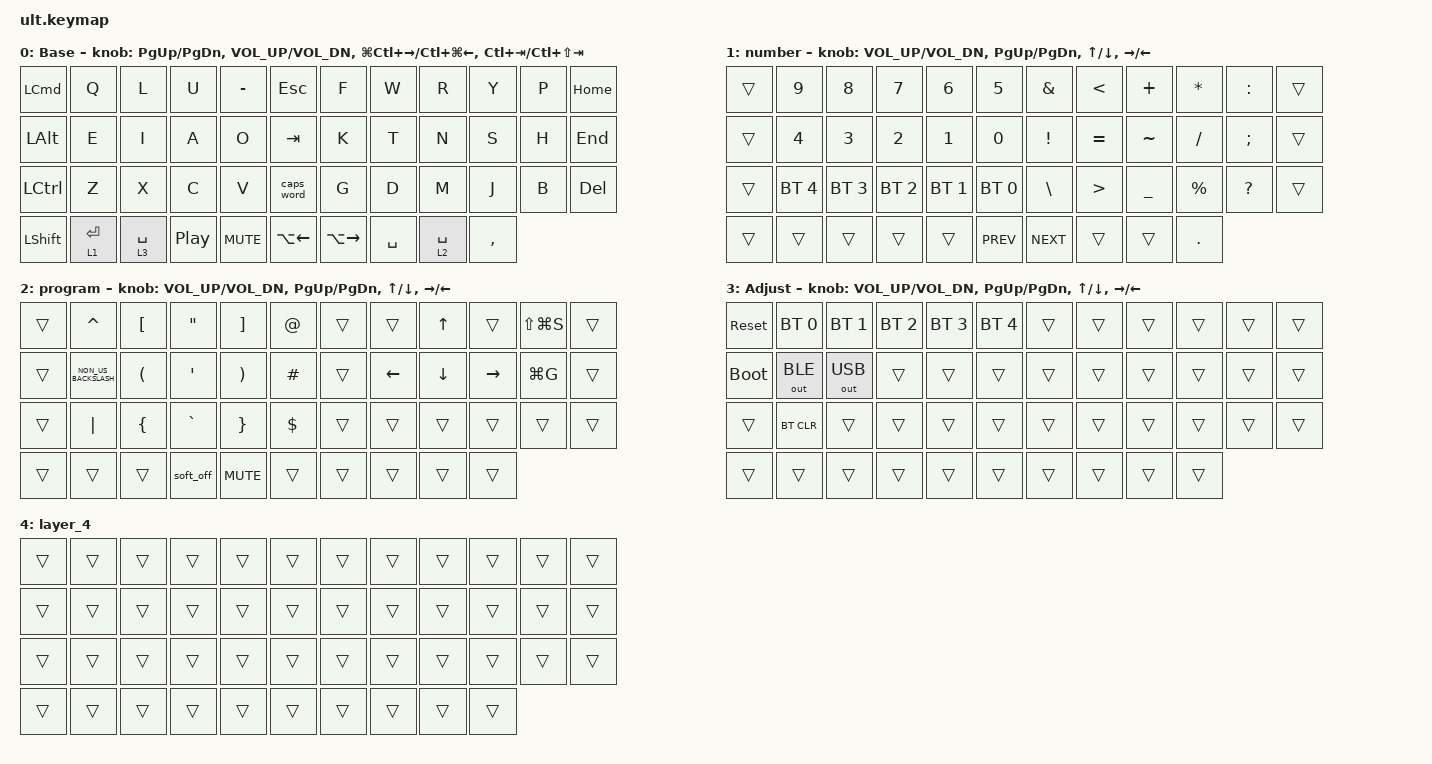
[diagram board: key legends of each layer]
#include <behaviors.dtsi>
#include <dt-bindings/zmk/bt.h>
#include <dt-bindings/zmk/keys.h>
#include <dt-bindings/zmk/outputs.h>

#define DEFAULT 0
#define LOWER   1
#define RAISE   2
#define ADJUST  3

/ {
    /* Overlay側で定義したセンサーリストと一致させる */
    /* ここでの再定義は不要ですが、動作を明確にするために記述してもOKです。
       Overlayで既にsensorsノードを定義しているので、ここは空でも動きますが、
       念のためトリガー設定等を上書きしたい場合は書きます。今回はOverlayに任せます。 */

    conditional_layers {
        compatible = "zmk,conditional-layers";

        tri_layer {
            if-layers = <LOWER RAISE>;
            then-layer = <ADJUST>;
        };
    };

    keymap {
        compatible = "zmk,keymap";

        default_layer {
            display-name = "Base";

            /* 左1, 左2, 右1, 右2 の順 */

            sensor-bindings =
                <&inc_dec_kp PG_UP PG_DN>,
                <&inc_dec_kp C_VOL_UP C_VOL_DN>,
                <&inc_dec_kp LG(LC(RIGHT)) LC(LG(LEFT))>,
                <&inc_dec_kp LC(TAB) LC(LS(TAB))>;

            bindings = <
&kp LCMD   &kp Q        &kp L        &kp U     &kp MINUS   &kp ESC       &kp F          &kp W      &kp R        &kp Y      &kp P  &kp HOME
&kp LALT   &kp E        &kp I        &kp A     &kp O       &kp TAB       &kp K          &kp T      &kp N        &kp S      &kp H  &kp END
&kp LCTRL  &kp Z        &kp X        &kp C     &kp V       &caps_word    &kp G          &kp D      &kp M        &kp J      &kp B  &kp DEL
&kp LSHFT  &lt 1 ENTER  &lt 3 SPACE  &kp C_PP  &kp C_MUTE  &kp LA(LEFT)  &kp LA(RIGHT)  &kp SPACE  &lt 2 SPACE  &kp COMMA
            >;
        };

        number_layer {
            display-name = "number";
            sensor-bindings = <&inc_dec_kp C_VOL_UP C_VOL_DN &inc_dec_kp PG_UP PG_DN &inc_dec_kp UP DOWN &inc_dec_kp RIGHT LEFT>;
            bindings = <
&trans  &kp N9        &kp N8        &kp N7        &kp N6        &kp N5        &kp AMPERSAND    &kp LESS_THAN     &kp PLUS        &kp ASTERISK  &kp COLON      &trans
&trans  &kp N4        &kp N3        &kp N2        &kp N1        &kp N0        &kp EXCLAMATION  &kp EQUAL         &kp TILDE       &kp SLASH     &kp SEMICOLON  &trans
&trans  &bt BT_SEL 4  &bt BT_SEL 3  &bt BT_SEL 2  &bt BT_SEL 1  &bt BT_SEL 0  &kp BACKSLASH    &kp GREATER_THAN  &kp UNDERSCORE  &kp PERCENT   &kp QUESTION   &trans
&trans  &trans        &trans        &trans        &trans        &kp C_PREV    &kp C_NEXT       &trans            &trans          &kp PERIOD
            >;
        };

        program_layer {
            display-name = "program";
            sensor-bindings = <&inc_dec_kp C_VOL_UP C_VOL_DN &inc_dec_kp PG_UP PG_DN &inc_dec_kp UP DOWN &inc_dec_kp RIGHT LEFT>;
            bindings = <
&trans  &kp CARET             &kp LEFT_BRACKET      &kp DOUBLE_QUOTES  &kp RIGHT_BRACKET      &kp AT_SIGN  &trans  &trans    &kp UP    &trans     &kp LS(LG(S))  &trans
&trans  &kp NON_US_BACKSLASH  &kp LEFT_PARENTHESIS  &kp SQT            &kp RIGHT_PARENTHESIS  &kp HASH     &trans  &kp LEFT  &kp DOWN  &kp RIGHT  &kp LG(G)      &trans
&trans  &kp PIPE              &kp LEFT_BRACE        &kp GRAVE          &kp RIGHT_BRACE        &kp DOLLAR   &trans  &trans    &trans    &trans     &trans         &trans
&trans  &trans                &trans                &soft_off          &kp C_MUTE             &trans       &trans  &trans    &trans    &trans
            >;
        };

        adjust_layer {
            display-name = "Adjust";
            sensor-bindings = <&inc_dec_kp C_VOL_UP C_VOL_DN &inc_dec_kp PG_UP PG_DN &inc_dec_kp UP DOWN &inc_dec_kp RIGHT LEFT>;
            bindings = <
&sys_reset   &bt BT_SEL 0  &bt BT_SEL 1  &bt BT_SEL 2  &bt BT_SEL 3  &bt BT_SEL 4  &trans  &trans  &trans  &trans  &trans  &trans
&bootloader  &out OUT_BLE  &out OUT_USB  &trans        &trans        &trans        &trans  &trans  &trans  &trans  &trans  &trans
&trans       &bt BT_CLR    &trans        &trans        &trans        &trans        &trans  &trans  &trans  &trans  &trans  &trans
&trans       &trans        &trans        &trans        &trans        &trans        &trans  &trans  &trans  &trans
            >;
        };

        layer_4 {
            bindings = <
&trans  &trans  &trans  &trans  &trans  &trans  &trans  &trans  &trans  &trans  &trans  &trans
&trans  &trans  &trans  &trans  &trans  &trans  &trans  &trans  &trans  &trans  &trans  &trans
&trans  &trans  &trans  &trans  &trans  &trans  &trans  &trans  &trans  &trans  &trans  &trans
&trans  &trans  &trans  &trans  &trans  &trans  &trans  &trans  &trans  &trans
            >;
        };
    };
};
